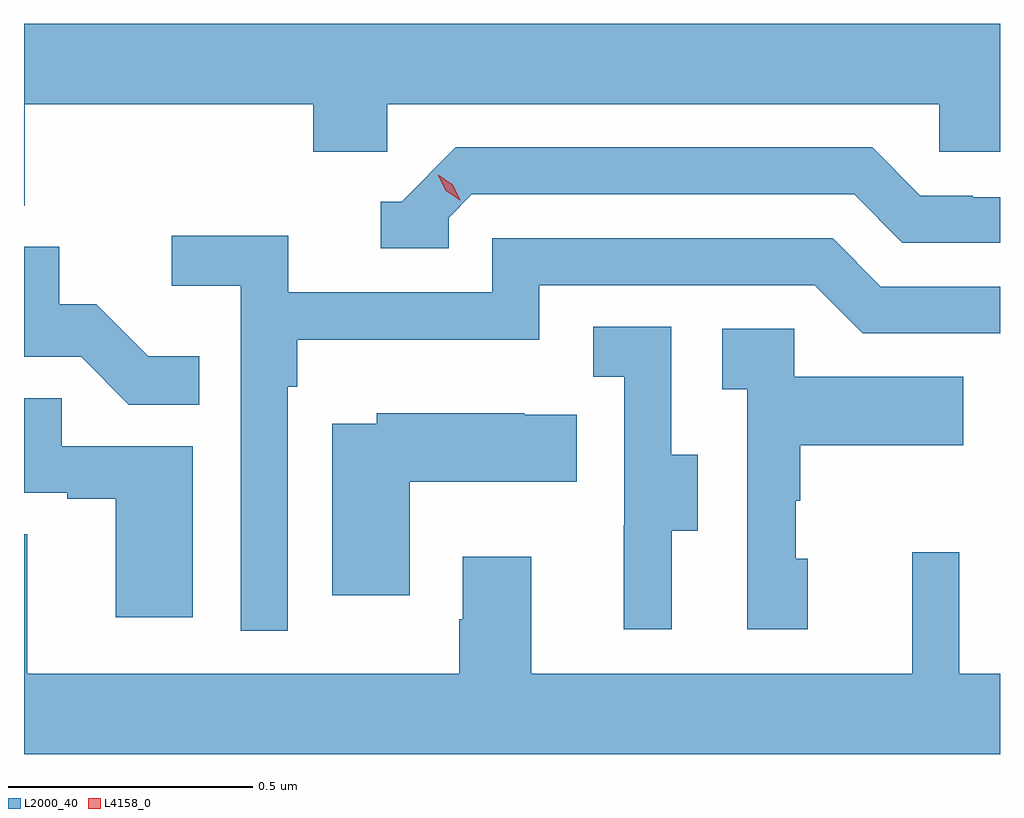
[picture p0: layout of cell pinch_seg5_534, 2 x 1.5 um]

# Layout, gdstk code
import gdstk
lib = gdstk.Library(unit=1e-6, precision=1e-09)
def P(c, l, *ps):  # polygons
    for p in ps: c.add(gdstk.Polygon(p, *l))
L2000_40 = (2000, 40)
L4158_0 = (4158, 0)

pinch_seg5_534 = lib.new_cell('pinch_seg5_534')
P(pinch_seg5_534, L2000_40, [(936.606,841.9),(936.608,841.9),(936.608,842.108),(937.199,842.108),(937.199,842.01),(937.35,842.01),(937.35,842.108),(938.481,842.108),(938.481,842.01),(938.606,842.01),(938.606,842.272),(936.606,842.272)],
  [(937.476,841.875),(937.524,841.923),(938.307,841.923),(938.406,841.824),(938.606,841.824),(938.606,841.917),(938.55,841.917),(938.55,841.92),(938.443,841.92),(938.344,842.019),(937.491,842.019),(937.38,841.908),(937.337,841.908),(937.337,841.812),(937.476,841.812)],
  [(937.146,841.529),(937.166,841.529),(937.166,841.625),(937.662,841.625),(937.662,841.737),(938.226,841.737),(938.325,841.638),(938.606,841.638),(938.606,841.734),(938.362,841.734),(938.263,841.833),(937.566,841.833),(937.566,841.722),(937.148,841.722),(937.148,841.838),(936.909,841.838),(936.909,841.736),(937.05,841.736),(937.05,841.029),(937.146,841.029)],
  [(936.965,841.591),(936.861,841.591),(936.754,841.698),(936.678,841.698),(936.678,841.815),(936.606,841.815),(936.606,841.59),(936.723,841.59),(936.821,841.492),(936.965,841.492)],
  [(937.933,841.234),(937.987,841.234),(937.987,841.389),(937.932,841.389),(937.932,841.652),(937.773,841.652),(937.773,841.549),(937.836,841.549),(937.836,841.245),(937.835,841.245),(937.835,841.032),(937.933,841.032)],
  [(938.212,841.176),(938.187,841.176),(938.187,841.295),(938.197,841.295),(938.197,841.409),(938.531,841.409),(938.531,841.549),(938.184,841.549),(938.184,841.647),(938.037,841.647),(938.037,841.523),(938.088,841.523),(938.088,841.032),(938.212,841.032)],
  [(936.952,841.407),(936.683,841.407),(936.683,841.505),(936.606,841.505),(936.606,841.311),(936.695,841.311),(936.695,841.299),(936.794,841.299),(936.794,841.056),(936.952,841.056)],
  [(937.396,841.334),(937.739,841.334),(937.739,841.471),(937.631,841.471),(937.631,841.474),(937.329,841.474),(937.329,841.453),(937.238,841.453),(937.238,841.101),(937.396,841.101)],
  [(938.606,840.94),(938.523,840.94),(938.523,841.189),(938.426,841.189),(938.426,840.94),(937.645,840.94),(937.645,841.18),(937.505,841.18),(937.505,841.052),(937.498,841.052),(937.498,840.94),(936.613,840.94),(936.613,841.226),(936.606,841.226),(936.606,840.776),(938.606,840.776)])
P(pinch_seg5_534, L4158_0, [(937.501,841.91),(937.47,841.93),(937.455,841.962),(937.455,841.963),(937.455,841.963),(937.485,841.943),(937.501,841.91),(937.501,841.91)])

lib.write_gds('pinch_seg5_534.gds')
